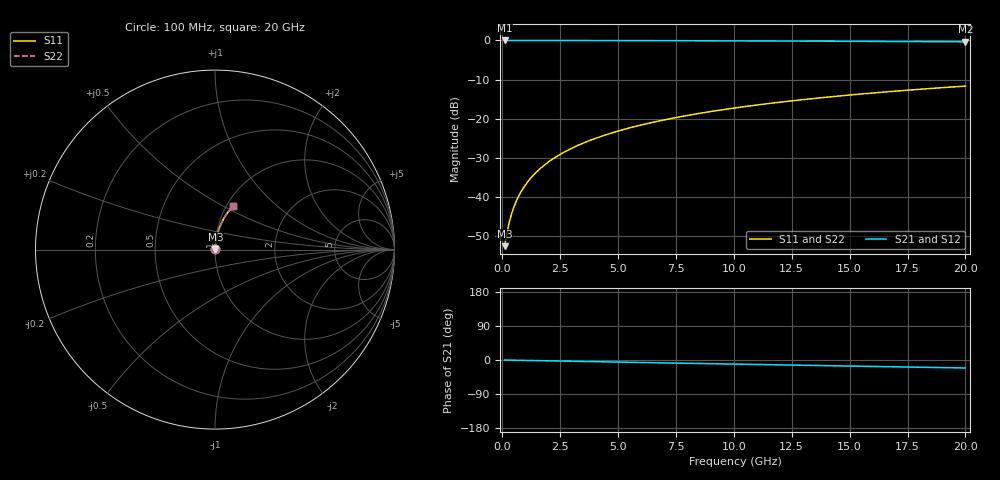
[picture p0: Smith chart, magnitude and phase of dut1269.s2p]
! Touchstone file exported from HFSS 2026.1.0
!  File:  C:/ffzhzh/LocalFiles/Ansys_Project_Files/temp_train_TMRDL_1269_1783164129_22436.aedt
!  Generated:  07:23:29 PM Jul  4, 2026
!  Design:  TMRDL
!  Project:  temp_train_TMRDL_1269_1783164129_22436
! Variables:
!  h_bsmrdl = 2um
!  h_ox = 20um
!  h_rdl = 5um
!  h_sub = 80um
!  h_tmrdl = 3.08um
!  h_tsv = 80um
!  h_via = 3um
!  l_bsmrdl = 300um
!  l_sub = 621.93um
!  l_tmrdl = 221.93um
!  m_sub = 200um
!  pitch = 54.24um
!  r_tsv = 6um
!  s_tmrdl = 10um
!  w_bsmrdl = 18um
!  w_sub = 500um
!  w_tmrdl = 15.38um
!  x_tsv_center1 = 229.62um
!  x_tsv_center2 = 547.62um
!  x_tsv_center3 = 784.93um
!  x_tsv_center4 = 1102.93um
!  x_tsv_center5 = 1340.24um
!  x_tsv_center6 = 1658.24um
# GHz S MA R 50.000000
! Terminal data exported
! Port[1] = TM_RDL1_1_T1
! Port[2] = TM_RDL1_1_T2
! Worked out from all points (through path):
!   200 points, 100 MHz to 20 GHz, reference 50 ohm
!   highest |S21| = -0.02 dB at 100 MHz (marker M1); lowest = -0.4 dB at 20 GHz (marker M2)
!   group delay of S21, straight-line fit = 2.93 ps
!   lowest |S11| = -52.5 dB at 100 MHz (marker M3), VSWR 1.00, Z = 50.2 + j0.147 ohm
!   |S11| at or under -10 dB: start of sweep to end of sweep
!   |S22| runs from -52.5 to -11.7 dB; largest |S21 - S12| = 4e-15
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0.1  0.002366 38.2  0.9981 -0.1  0.9981 -0.1  0.002366 38.1
! Gamma 0 0 0 0
! Port Impedance 50 0 50 0
0.2  0.003478 56.9  0.9981 -0.2  0.9981 -0.2  0.003478 56.9
0.3  0.004767 65.8  0.9981 -0.3  0.9981 -0.3  0.004767 65.8
0.4  0.00611 70.7  0.998 -0.4  0.998 -0.4  0.00611 70.7
0.5  0.00747 73.8  0.998 -0.6  0.998 -0.6  0.00747 73.8
0.6  0.008836 75.9  0.9979 -0.7  0.9979 -0.7  0.008836 75.9
0.8  0.01158 78.6  0.9978 -0.9  0.9978 -0.9  0.01158 78.6
1.1  0.01571 80.8  0.9977 -1.2  0.9977 -1.2  0.01571 80.8
1.5  0.02124 82.3  0.9975 -1.7  0.9975 -1.7  0.02124 82.3
1.8  0.02539 82.9  0.9974 -2.0  0.9974 -2.0  0.02539 82.9
2.1  0.02955 83.2  0.9972 -2.3  0.9972 -2.3  0.02955 83.2
2.7  0.03788 83.4  0.9969 -3.0  0.9969 -3.0  0.03788 83.4
3.5  0.04896 83.2  0.9963 -3.8  0.9963 -3.8  0.04896 83.2
4.2  0.05862 82.8  0.9956 -4.6  0.9956 -4.6  0.05863 82.8
5  0.06962 82.2  0.9947 -5.5  0.9947 -5.5  0.06962 82.2
5.9  0.08193 81.4  0.9936 -6.4  0.9936 -6.4  0.08193 81.4
6.8  0.09415 80.6  0.9923 -7.4  0.9923 -7.4  0.09415 80.6
8.3  0.1143 79.2  0.9898 -9.0  0.9898 -9.0  0.1143 79.2
10.1  0.1381 77.4  0.9864 -10.9  0.9864 -10.9  0.1381 77.4
13.4  0.1807 74.1  0.9787 -14.4  0.9787 -14.4  0.1807 74.1
16.7  0.2218 70.8  0.9697 -17.8  0.9697 -17.8  0.2218 70.8
20  0.2611 67.6  0.9594 -21.1  0.9594 -21.1  0.2611 67.6
